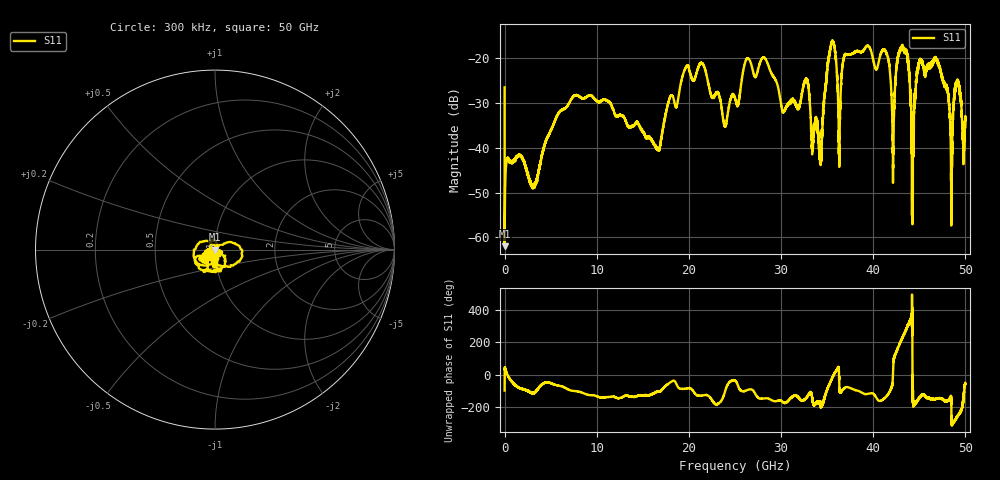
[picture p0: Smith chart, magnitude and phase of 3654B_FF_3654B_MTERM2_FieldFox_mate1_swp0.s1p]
!Created with skrf (http://scikit-rf.org).
# Hz S RI R 50.0
!freq ReS11 ImS11
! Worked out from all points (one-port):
!   10001 points, 300 kHz to 50 GHz, reference 50 ohm
!   lowest |S11| = -62.0 dB at 5.3 MHz (marker M1), VSWR 1.00, Z = 50.1 - j0.0459 ohm
!   |S11| at or under -10 dB: start of sweep to end of sweep
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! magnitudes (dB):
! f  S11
! 300 kHz  -26.5
! 5.3 MHz  -62.0
! 255.3 MHz  -42.9
! 3.135 GHz  -48.8
! 6.25 GHz  -31.5
! 12.5 GHz  -32.7
! 16.65 GHz  -40.5
! 18.75 GHz  -30.0
! 21.35 GHz  -21.0
! 23.88 GHz  -35.0
! 25 GHz  -28.9
! 28.1 GHz  -19.8
! 31.25 GHz  -28.9
! 32.75 GHz  -24.5
! 34.24 GHz  -41.5
! 35.44 GHz  -16.8
! 36.32 GHz  -43.5
! 37.5 GHz  -19.2
! 41.31 GHz  -18.3
! 42.15 GHz  -47.8
! 42.83 GHz  -18.5
! 43.75 GHz  -20.1
! 44.29 GHz  -44.9
! 44.97 GHz  -21.0
! 46.72 GHz  -19.9
! 48.44 GHz  -46.5
! 49.09 GHz  -25.1
! 50 GHz  -33.3
